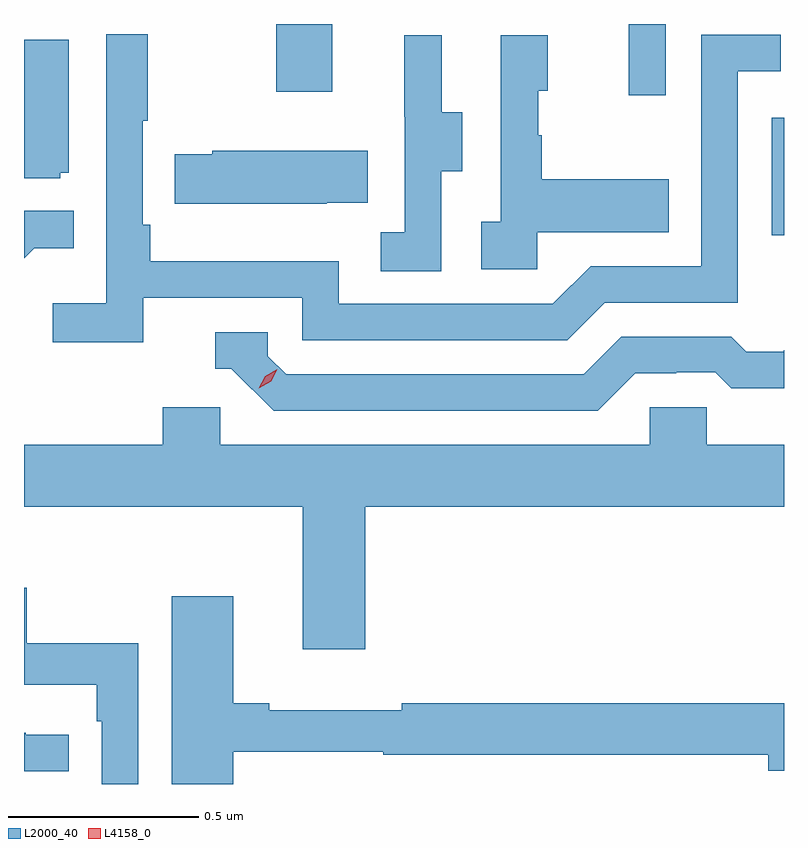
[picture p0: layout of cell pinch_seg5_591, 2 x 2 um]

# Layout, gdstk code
import gdstk
lib = gdstk.Library(unit=1e-6, precision=1e-09)
def R(c, l, rs):  # rectangles x0, y0, x1, y1
    for r in rs: c.add(gdstk.rectangle(r[:2], r[2:], *l))
def P(c, l, *ps):  # polygons
    for p in ps: c.add(gdstk.Polygon(p, *l))
L2000_40 = (2000, 40)
L4158_0 = (4158, 0)

pinch_seg5_591 = lib.new_cell('pinch_seg5_591')
R(pinch_seg5_591, L2000_40, [(1137.27,864.135,1137.302,864.444), (1136.894,864.504,1136.991,864.691), (1135.966,864.513,1136.113,864.691)])
P(pinch_seg5_591, L2000_40, [(1135.616,863.97),(1136.034,863.97),(1136.034,863.859),(1136.731,863.859),(1136.83,863.958),(1137.18,863.958),(1137.18,864.567),(1137.293,864.567),(1137.293,864.663),(1137.084,864.663),(1137.084,864.054),(1136.793,864.054),(1136.694,863.955),(1136.13,863.955),(1136.13,864.067),(1135.634,864.067),(1135.634,864.163),(1135.614,864.163),(1135.614,864.436),(1135.627,864.436),(1135.627,864.664),(1135.518,864.664),(1135.518,863.956),(1135.377,863.956),(1135.377,863.854),(1135.616,863.854)],
  [(1136.652,864.143),(1136.999,864.143),(1136.999,864.283),(1136.665,864.283),(1136.665,864.398),(1136.655,864.398),(1136.655,864.516),(1136.68,864.516),(1136.68,864.661),(1136.556,864.661),(1136.556,864.17),(1136.505,864.17),(1136.505,864.045),(1136.652,864.045)],
  [(1136.4,864.304),(1136.455,864.304),(1136.455,864.459),(1136.401,864.459),(1136.401,864.661),(1136.303,864.661),(1136.303,864.447),(1136.304,864.447),(1136.304,864.143),(1136.241,864.143),(1136.241,864.04),(1136.4,864.04)],
  [(1135.398,864.3),(1135.42,864.3),(1135.42,864.649),(1135.302,864.649),(1135.302,864.285),(1135.398,864.285)],
  [(1136.099,864.221),(1136.207,864.221),(1136.207,864.358),(1135.797,864.358),(1135.797,864.348),(1135.699,864.348),(1135.699,864.218),(1136.099,864.218)],
  [(1135.329,864.101),(1135.433,864.101),(1135.433,864.2),(1135.302,864.2),(1135.302,864.074)],
  [(1136.911,863.772),(1137.018,863.772),(1137.018,863.775),(1137.121,863.775),(1137.163,863.733),(1137.302,863.733),(1137.302,863.832),(1137.301,863.832),(1137.301,863.829),(1137.202,863.829),(1137.163,863.868),(1136.874,863.868),(1136.775,863.769),(1135.992,863.769),(1135.944,863.817),(1135.944,863.88),(1135.805,863.88),(1135.805,863.784),(1135.848,863.784),(1135.959,863.673),(1136.812,863.673)],
  [(1136.2,863.42),(1137.302,863.42),(1137.302,863.584),(1137.099,863.584),(1137.099,863.682),(1136.949,863.682),(1136.949,863.584),(1135.818,863.584),(1135.818,863.682),(1135.667,863.682),(1135.667,863.584),(1135.302,863.584),(1135.302,863.42),(1136.036,863.42),(1136.036,863.046),(1136.2,863.046)],
  [(1135.602,863.062),(1135.309,863.062),(1135.309,863.208),(1135.302,863.208),(1135.302,862.952),(1135.493,862.952),(1135.493,862.856),(1135.506,862.856),(1135.506,862.691),(1135.602,862.691)],
  [(1135.852,862.776),(1136.248,862.776),(1136.248,862.768),(1137.26,862.768),(1137.26,862.726),(1137.302,862.726),(1137.302,862.904),(1136.296,862.904),(1136.296,862.885),(1135.948,862.885),(1135.948,862.904),(1135.852,862.904),(1135.852,863.185),(1135.691,863.185),(1135.691,862.691),(1135.852,862.691)],
  [(1135.42,862.821),(1135.307,862.821),(1135.307,862.826),(1135.302,862.826),(1135.302,862.725),(1135.42,862.725)])
P(pinch_seg5_591, L4158_0, [(1135.92,863.732),(1135.92,863.732),(1135.937,863.764),(1135.968,863.783),(1135.968,863.783),(1135.968,863.783),(1135.952,863.751),(1135.92,863.732)])

lib.write_gds('pinch_seg5_591.gds')
